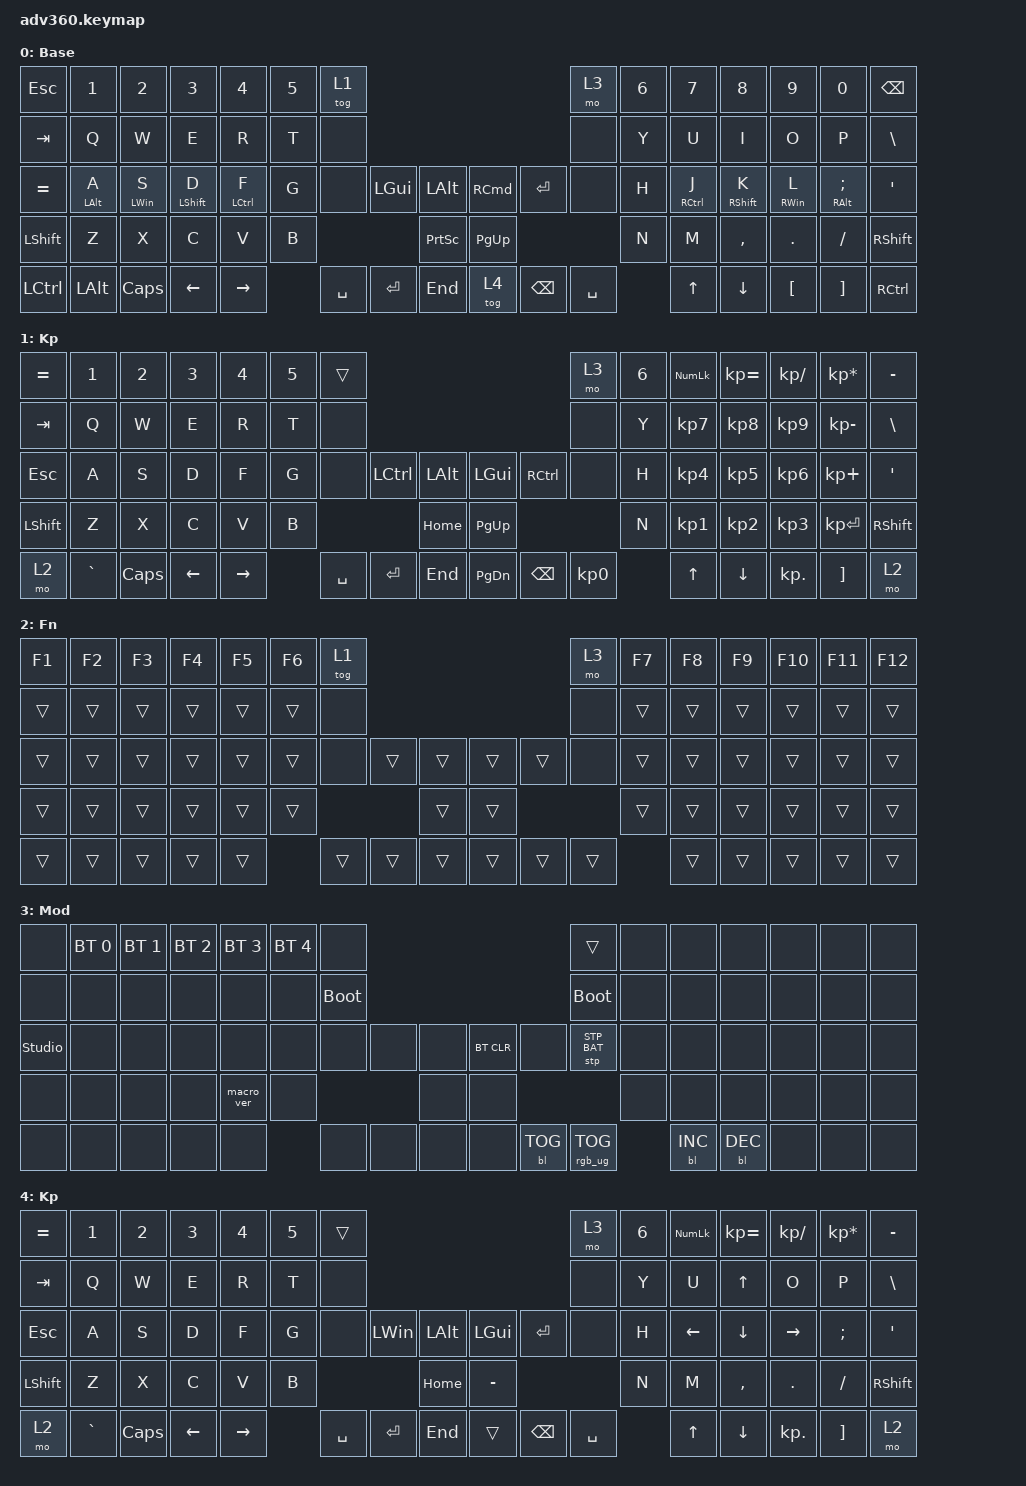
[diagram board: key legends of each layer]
#include <dt-bindings/zmk/stp.h>
#include <behaviors.dtsi>
#include <dt-bindings/zmk/backlight.h>
#include <dt-bindings/zmk/bt.h>
#include <dt-bindings/zmk/keys.h>
#include <dt-bindings/zmk/rgb.h>

/ {
    behaviors {
        #include "macros.dtsi"
      #include "version.dtsi"

        hm: homerow_mods {
            compatible = "zmk,behavior-hold-tap";
            label = "HOMEROW_MODS";
            #binding-cells = <2>;
            tapping-term-ms = <300>;
            quick_tap_ms = <175>;
            flavor = "tap-preferred";
            bindings = <&kp>, <&kp>;
        };
    };

    keymap {
        compatible = "zmk,keymap";

        default_layer {
            display-name = "Base";
            bindings = <
&kp ESC    &kp N1          &kp N2          &kp N3            &kp N4              &kp N5  &tog 1                                                                          &mo 3      &kp N6  &kp N7               &kp N8             &kp N9           &kp N0              &kp BACKSPACE
&kp TAB    &kp Q           &kp W           &kp E             &kp R               &kp T   &none                                                                           &none      &kp Y   &kp U                &kp I              &kp O            &kp P               &kp BSLH
&kp EQUAL  &hm LEFT_ALT A  &hm LEFT_WIN S  &hm LEFT_SHIFT D  &hm LEFT_CONTROL F  &kp G   &none      &kp LEFT_GUI  &kp LALT             &kp RIGHT_COMMAND  &kp ENTER      &none      &kp H   &hm RIGHT_CONTROL J  &hm RIGHT_SHIFT K  &hm RIGHT_WIN L  &hm RIGHT_ALT SEMI  &kp SQT
&kp LSHFT  &kp Z           &kp X           &kp C             &kp V               &kp B                            &kp PRINTSCREEN      &kp PG_UP                                    &kp N   &kp M                &kp COMMA          &kp DOT          &kp FSLH            &kp RSHFT
&kp LCTRL  &kp LEFT_ALT    &kp CAPS        &kp LEFT          &kp RIGHT                   &kp SPACE  &kp ENTER     &kp END              &tog 4             &kp BACKSPACE  &kp SPACE          &kp UP               &kp DOWN           &kp LBKT         &kp RBKT            &kp RCTRL
            >;
        };

        keypad {
            display-name = "Kp";
            bindings = <
&kp EQUAL  &kp N1     &kp N2    &kp N3    &kp N4     &kp N5  &trans                                                        &mo 3      &kp N6  &kp KP_NUM  &kp KP_EQUAL  &kp KP_DIVIDE  &kp KP_MULTIPLY  &kp MINUS
&kp TAB    &kp Q      &kp W     &kp E     &kp R      &kp T   &none                                                         &none      &kp Y   &kp KP_N7   &kp KP_N8     &kp KP_N9      &kp KP_MINUS     &kp BSLH
&kp ESC    &kp A      &kp S     &kp D     &kp F      &kp G   &none      &kp LCTRL  &kp LALT      &kp LGUI   &kp RCTRL      &none      &kp H   &kp KP_N4   &kp KP_N5     &kp KP_N6      &kp KP_PLUS      &kp SQT
&kp LSHFT  &kp Z      &kp X     &kp C     &kp V      &kp B                         &kp HOME      &kp PG_UP                            &kp N   &kp KP_N1   &kp KP_N2     &kp KP_N3      &kp KP_ENTER     &kp RSHFT
&mo 2      &kp GRAVE  &kp CAPS  &kp LEFT  &kp RIGHT          &kp SPACE  &kp ENTER  &kp END       &kp PG_DN  &kp BACKSPACE  &kp KP_N0          &kp UP      &kp DOWN      &kp KP_DOT     &kp RBKT         &mo 2
            >;
        };

        fn {
            display-name = "Fn";
            bindings = <
&kp F1  &kp F2  &kp F3  &kp F4  &kp F5  &kp F6  &tog 1                                      &mo 3   &kp F7  &kp F8  &kp F9  &kp F10  &kp F11  &kp F12
&trans  &trans  &trans  &trans  &trans  &trans  &none                                       &none   &trans  &trans  &trans  &trans   &trans   &trans
&trans  &trans  &trans  &trans  &trans  &trans  &none   &trans  &trans      &trans  &trans  &none   &trans  &trans  &trans  &trans   &trans   &trans
&trans  &trans  &trans  &trans  &trans  &trans                  &trans      &trans                  &trans  &trans  &trans  &trans   &trans   &trans
&trans  &trans  &trans  &trans  &trans          &trans  &trans  &trans      &trans  &trans  &trans          &trans  &trans  &trans   &trans   &trans
            >;
        };

        mod {
            display-name = "Mod";
            bindings = <
&none           &bt BT_SEL 0  &bt BT_SEL 1  &bt BT_SEL 2  &bt BT_SEL 3  &bt BT_SEL 4  &none                                                  &trans           &none  &none       &none       &none  &none  &none
&none           &none         &none         &none         &none         &none         &bootloader                                            &bootloader      &none  &none       &none       &none  &none  &none
&studio_unlock  &none         &none         &none         &none         &none         &none        &none  &none      &bt BT_CLR  &none       &stp STP_BAT     &none  &none       &none       &none  &none  &none
&none           &none         &none         &none         &macro_ver    &none                             &none      &none                                    &none  &none       &none       &none  &none  &none
&none           &none         &none         &none         &none                       &none        &none  &none      &none       &bl BL_TOG  &rgb_ug RGB_TOG         &bl BL_INC  &bl BL_DEC  &none  &none  &none
            >;
        };

        Arrow_layer {
            display-name = "Kp";
            bindings = <
&kp EQUAL  &kp N1     &kp N2    &kp N3    &kp N4     &kp N5  &trans                                                           &mo 3      &kp N6  &kp KP_NUM      &kp KP_EQUAL  &kp KP_DIVIDE  &kp KP_MULTIPLY  &kp MINUS
&kp TAB    &kp Q      &kp W     &kp E     &kp R      &kp T   &none                                                            &none      &kp Y   &kp U           &kp UP_ARROW  &kp O          &kp P            &kp BSLH
&kp ESC    &kp A      &kp S     &kp D     &kp F      &kp G   &none      &kp LEFT_WIN  &kp LALT      &kp LGUI   &kp ENTER      &none      &kp H   &kp LEFT_ARROW  &kp DOWN      &kp RIGHT      &kp SEMICOLON    &kp SQT
&kp LSHFT  &kp Z      &kp X     &kp C     &kp V      &kp B                            &kp HOME      &kp MINUS                            &kp N   &kp M           &kp COMMA     &kp PERIOD     &kp SLASH        &kp RSHFT
&mo 2      &kp GRAVE  &kp CAPS  &kp LEFT  &kp RIGHT          &kp SPACE  &kp ENTER     &kp END       &trans     &kp BACKSPACE  &kp SPACE          &kp UP          &kp DOWN      &kp KP_DOT     &kp RBKT         &mo 2
            >;
        };

        extra1 {
            display-name = "Red";
            status = "reserved";
        };

        extra2 {
            display-name = "Purple";
            status = "reserved";
        };

        extra3 {
            display-name = "Cyan";
            status = "reserved";
        };

        extra4 {
            display-name = "Yellow";
            status = "reserved";
        };
    };
};
